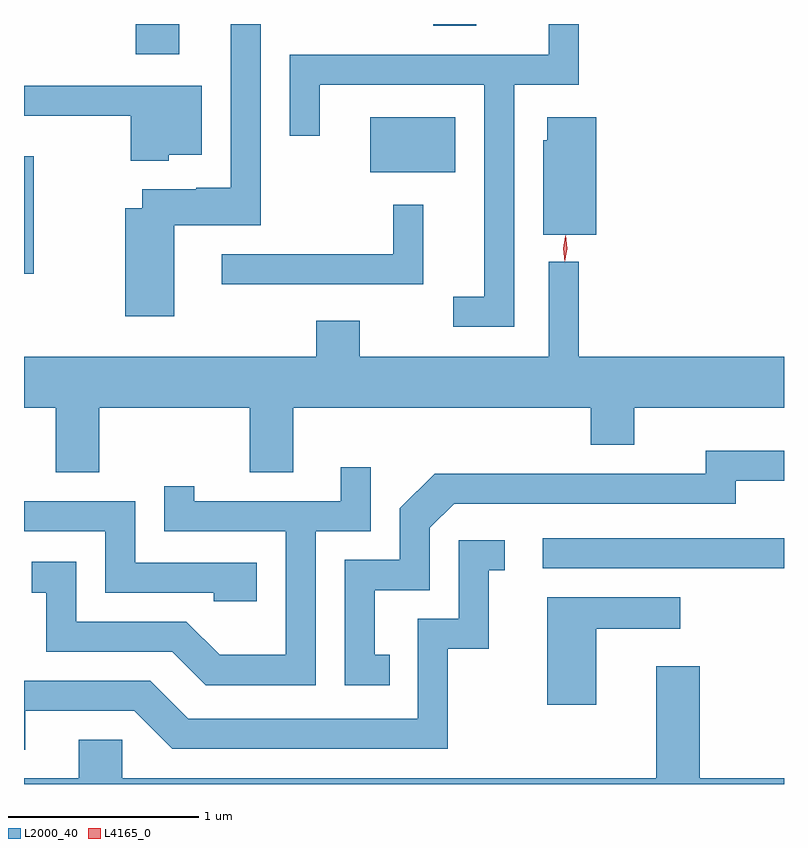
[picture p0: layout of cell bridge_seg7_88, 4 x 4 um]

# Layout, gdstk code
import gdstk
lib = gdstk.Library(unit=1e-6, precision=1e-09)
def R(c, l, rs):  # rectangles x0, y0, x1, y1
    for r in rs: c.add(gdstk.rectangle(r[:2], r[2:], *l))
def P(c, l, *ps):  # polygons
    for p in ps: c.add(gdstk.Polygon(p, *l))
L2000_40 = (2000, 40)
L4165_0 = (4165, 0)

bridge_seg7_88 = lib.new_cell('bridge_seg7_88')
R(bridge_seg7_88, L2000_40, [(1546.133,1748.991,1547.403,1749.149), (1543.403,1750.541,1543.454,1751.159), (1545.226,1751.076,1545.674,1751.364), (1543.991,1751.696,1544.219,1751.855), (1545.556,1751.846,1545.784,1751.855)])
P(bridge_seg7_88, L2000_40, [(1545.984,1751.536),(1546.324,1751.536),(1546.324,1751.855),(1546.166,1751.855),(1546.166,1751.694),(1544.801,1751.694),(1544.801,1751.268),(1544.959,1751.268),(1544.959,1751.536),(1545.826,1751.536),(1545.826,1750.419),(1545.663,1750.419),(1545.663,1750.261),(1545.984,1750.261)],
  [(1544.194,1750.796),(1544.649,1750.796),(1544.649,1751.855),(1544.491,1751.855),(1544.491,1750.994),(1544.31,1750.994),(1544.31,1750.984),(1544.026,1750.984),(1544.026,1750.884),(1543.936,1750.884),(1543.936,1750.316),(1544.194,1750.316)],
  [(1544.164,1751.166),(1544.339,1751.166),(1544.339,1751.529),(1543.403,1751.529),(1543.403,1751.371),(1543.966,1751.371),(1543.966,1751.136),(1544.164,1751.136)],
  [(1546.414,1751.364),(1546.156,1751.364),(1546.156,1751.244),(1546.136,1751.244),(1546.136,1750.746),(1546.414,1750.746)],
  [(1545.504,1750.903),(1545.346,1750.903),(1545.346,1750.644),(1544.443,1750.644),(1544.443,1750.486),(1545.504,1750.486)],
  [(1546.386,1749.641),(1546.614,1749.641),(1546.614,1749.836),(1547.403,1749.836),(1547.403,1750.104),(1546.324,1750.104),(1546.324,1750.603),(1546.166,1750.603),(1546.166,1750.104),(1545.169,1750.104),(1545.169,1750.294),(1544.941,1750.294),(1544.941,1750.104),(1543.403,1750.104),(1543.403,1749.836),(1543.571,1749.836),(1543.571,1749.496),(1543.799,1749.496),(1543.799,1749.836),(1544.591,1749.836),(1544.591,1749.496),(1544.819,1749.496),(1544.819,1749.836),(1546.386,1749.836)],
  [(1545.328,1748.534),(1545.249,1748.534),(1545.249,1748.876),(1545.539,1748.876),(1545.539,1749.204),(1545.667,1749.331),(1547.149,1749.331),(1547.149,1749.451),(1547.403,1749.451),(1547.403,1749.609),(1546.991,1749.609),(1546.991,1749.489),(1545.564,1749.489),(1545.381,1749.307),(1545.381,1749.034),(1545.091,1749.034),(1545.091,1748.376),(1545.328,1748.376)],
  [(1544.939,1749.186),(1545.229,1749.186),(1545.229,1749.523),(1545.071,1749.523),(1545.071,1749.344),(1544.299,1749.344),(1544.299,1749.423),(1544.141,1749.423),(1544.141,1749.186),(1544.781,1749.186),(1544.781,1748.534),(1544.432,1748.534),(1544.257,1748.709),(1543.679,1748.709),(1543.679,1749.024),(1543.443,1749.024),(1543.443,1748.861),(1543.521,1748.861),(1543.521,1748.551),(1544.184,1748.551),(1544.359,1748.376),(1544.939,1748.376)],
  [(1544.629,1749.019),(1543.989,1749.019),(1543.989,1749.344),(1543.403,1749.344),(1543.403,1749.186),(1543.831,1749.186),(1543.831,1748.861),(1544.401,1748.861),(1544.401,1748.816),(1544.629,1748.816)],
  [(1543.409,1748.241),(1543.984,1748.241),(1544.184,1748.041),(1545.634,1748.041),(1545.634,1748.566),(1545.849,1748.566),(1545.849,1748.981),(1545.933,1748.981),(1545.933,1749.139),(1545.691,1749.139),(1545.691,1748.724),(1545.476,1748.724),(1545.476,1748.199),(1544.267,1748.199),(1544.067,1748.399),(1543.403,1748.399),(1543.403,1748.036),(1543.409,1748.036)],
  [(1546.414,1748.671),(1546.858,1748.671),(1546.858,1748.839),(1546.156,1748.839),(1546.156,1748.271),(1546.414,1748.271)],
  [(1547.403,1747.884),(1546.959,1747.884),(1546.959,1748.474),(1546.731,1748.474),(1546.731,1747.884),(1543.919,1747.884),(1543.919,1748.089),(1543.691,1748.089),(1543.691,1747.884),(1543.403,1747.884),(1543.403,1747.855),(1547.403,1747.855)])
P(bridge_seg7_88, L4165_0, [(1546.248,1750.608),(1546.241,1750.674),(1546.252,1750.739),(1546.253,1750.74),(1546.253,1750.739),(1546.261,1750.674),(1546.249,1750.608),(1546.249,1750.608)],
  [(1546.248,1750.605),(1546.241,1750.674),(1546.253,1750.742),(1546.254,1750.742),(1546.254,1750.742),(1546.261,1750.673),(1546.249,1750.605),(1546.249,1750.605)])

lib.write_gds('bridge_seg7_88.gds')
